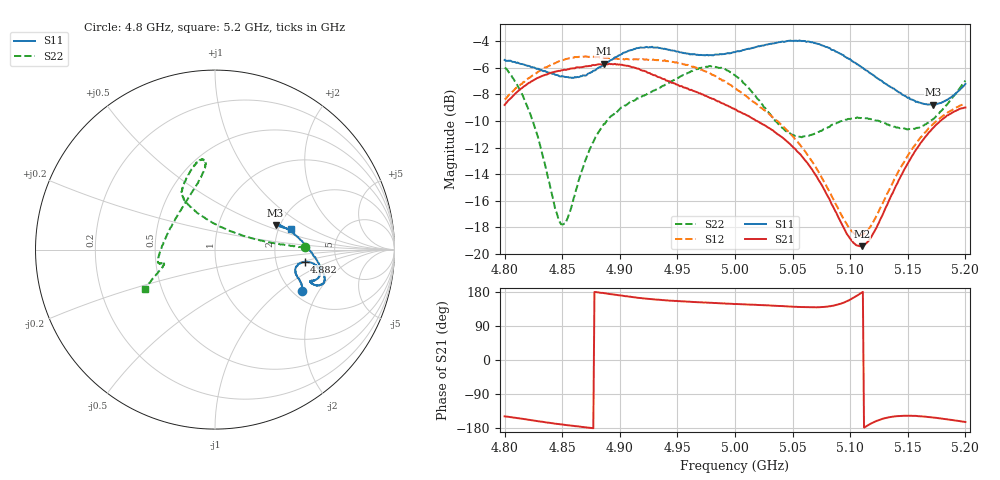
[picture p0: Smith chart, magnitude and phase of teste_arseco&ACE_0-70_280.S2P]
! Network Analyzer HP8722D
! Hewlett-Packard
! Data name: Linha & Wilkinson
! Saver's name: Rodrigo Anjos
! Comments: Teste da utilização de aquisição
! continua pelo VNA HP8722D
! Time and date: 8/5/2025 15:05
!  Frequency  S11  S21  S12  S22
# HZ  S  MA R 50
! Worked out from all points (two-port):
!   401 points, 4.8 GHz to 5.2 GHz, reference 50 ohm
!   highest |S21| = -5.68 dB at 4.886 GHz (marker M1); lowest = -19.4 dB at 5.11 GHz (marker M2)
!   |S21| within 3 dB of the highest: 4.801 GHz to 4.989 GHz (188.4 MHz wide, 3.85 % of centre)
!   lowest |S11| = -8.8 dB at 5.172 GHz (marker M3), VSWR 2.15, Z = 94.7 + j30.1 ohm
!   |S11| at or under -10 dB: nowhere
!   |S22| runs from -17.8 to -5.9 dB; largest |S21 - S12| = 1.1
!   S11 on the Smith chart (normalised r, x): 4.8 GHz: 2.24, -1.45; 4.882 GHz: 2.92, -0.54; 5.2 GHz: 2.33, +0.65
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4.8e9  0.5369 -25.4  0.3635 -148.7  0.3824 10.6  0.5013 1.4
4.812e9  0.5232 -22.3  0.4111 -153.6  0.4276 8.9  0.4241 2.7
4.823e9  0.5052 -20.5  0.4452 -158.7  0.4653 7.3  0.3292 6.3
4.845e9  0.4715 -16.7  0.4856 -168.4  0.5251 3.8  0.1433 41.8
4.849e9  0.4653 -16.2  0.4906 -169.9  0.5339 3.2  0.1291 58.8
4.855e9  0.4624 -14.5  0.4954 -172.3  0.5431 2.0  0.1371 85.0
4.867e9  0.4663 -10.8  0.5045 -176.5  0.5518 0.6  0.2052 112.3
4.882e9  0.5035 -7.9  0.5173 178.0  0.5506 -0.6  0.2892 120.6
4.886e9  0.5155 -7.5  0.5198 176.5  0.5487 -0.8  0.3078 121.2
4.913e9  0.5915 -10.9  0.5022 165.4  0.5409 -0.4  0.3782 119.1
4.934e9  0.5959 -15.5  0.462 158.9  0.5363 -1.4  0.4207 112.9
4.977e9  0.5583 -18.5  0.389 151.2  0.4827 -5.3  0.508 98.4
5e9  0.5748 -19.2  0.3495 147.7  0.4203 -5.1  0.4703 96.7
5.044e9  0.631 -17.4  0.2674 141.7  0.2948 3.0  0.2897 131.5
5.067e9  0.6265 -13.3  0.2073 139.1  0.2224 9.5  0.281 164.4
5.099e9  0.5423 -2.4  0.1156 157.6  0.1252 38.9  0.3221 -170.0
5.11e9  0.5044 3.0  0.1067 177.7  0.1177 61.2  0.3246 -167.1
5.119e9  0.4742 7.4  0.1172 -166.3  0.1292 78.3  0.3212 -166.1
5.134e9  0.4271 14.5  0.1597 -150.9  0.1745 94.9  0.3045 -165.8
5.155e9  0.3785 21.4  0.238 -147.4  0.2525 101.8  0.2954 -163.7
5.172e9  0.3645 22.2  0.2978 -151.8  0.3082 102.7  0.3213 -160.2
5.2e9  0.4361 14.9  0.3553 -163.5  0.3683 103.0  0.4488 -150.5
